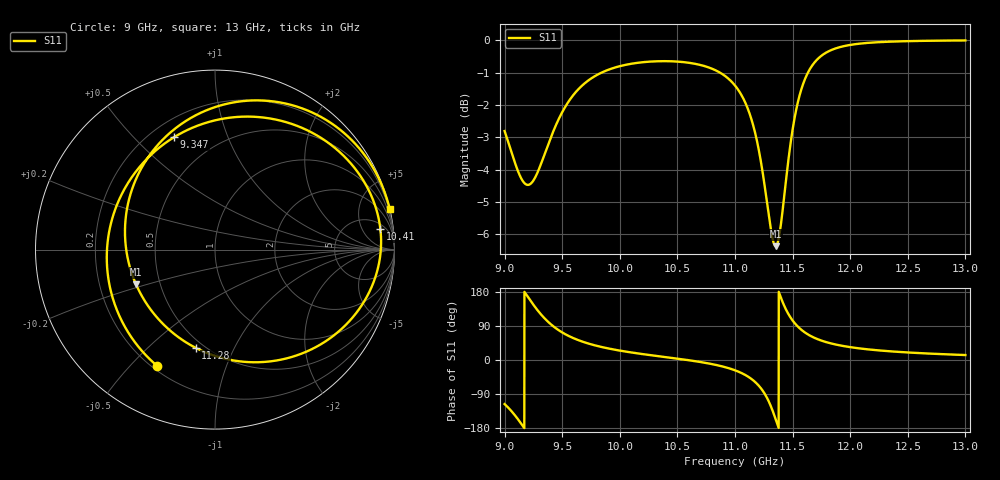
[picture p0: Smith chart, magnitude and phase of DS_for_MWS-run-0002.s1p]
! TOUCHSTONE file generated by CST DESIGN STUDIO
! Date and time: Tue Feb  4 14:21:38 2025
! Project name: C:\Work\MatlabApps\UnitCellOptimizationMatlab\CST\unitcell.cst
! Tree item: Tasks\Sweep1\SPara1\S-Parameters
! Header version: 2024
! Port assignment regex: !\s*Touchstone port\s*([0-9]+)\s*=\s*(CST MWS port|CST DES external port|CST DES block port)\s*(.+)\s* \(\"(.*)\"\)(\s*mode\s*([0-9]+))?.*
! Touchstone port assignment:
! Touchstone port 1 = CST DES external port 1 ("")
# GHz S MA R 50
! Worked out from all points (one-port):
!   4001 points, 9 GHz to 13 GHz, reference 50 ohm
!   lowest |S11| = -6.4 dB at 11.35 GHz (marker M1), VSWR 2.85, Z = 18.2 - j9.13 ohm
!   |S11| at or under -10 dB: nowhere
!   S11 on the Smith chart (normalised r, x): 9 GHz: 0.22, -0.60; 9.347 GHz: 0.29, +0.66; 10.41 GHz: 7, +12; 11.28 GHz: 0.45, -0.72; 13 GHz: 0.02, +8.73
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9  0.7241 -116.3
9.101  0.6382 -150.4
9.174  0.6011 178.9
9.249  0.6069 146.2
9.347  0.6667 109.9
9.418  0.72 90.1
9.5  0.7743 72.7
9.713  0.8632 44.8
10  0.912 24.8
10.412  0.9284 7.0
10.5  0.9271 3.5
10.804  0.9033 -11.1
11  0.8514 -27.2
11.15  0.7475 -51.7
11.224  0.6508 -74.2
11.28  0.5575 -101.2
11.316  0.5044 -125.6
11.353  0.4807 -156.3
11.386  0.5016 174.8
11.418  0.555 149.6
11.46  0.6457 123.2
11.5  0.7278 104.3
11.58  0.8445 78.8
11.703  0.9298 56.7
11.83  0.9649 44.0
12  0.9837 33.9
12.5  0.997 19.9
13  0.9995 13.1
